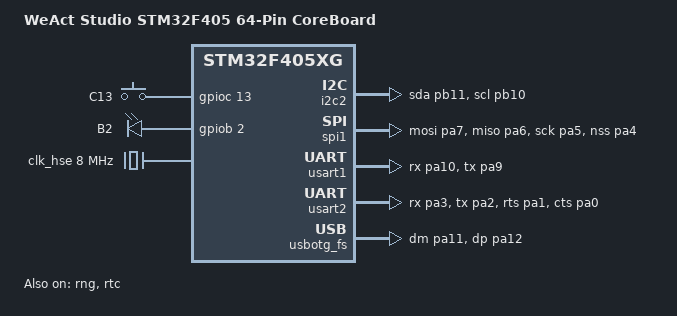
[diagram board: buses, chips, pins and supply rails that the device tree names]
/*
 * Copyright (c) 2023 Caspar Friedrich <c.s.w.friedrich@gmail.com>
 *
 * SPDX-License-Identifier: Apache-2.0
 */

/dts-v1/;

#include <st/f4/stm32f405Xg.dtsi>
#include <st/f4/stm32f405rgtx-pinctrl.dtsi>
#include <zephyr/dt-bindings/input/input-event-codes.h>

/ {
	model = "WeAct Studio STM32F405 64-Pin CoreBoard";
	compatible = "weact,coreboard-f405rg";

	chosen {
		zephyr,ccm = &ccm0;
		zephyr,code-partition = &slot0_partition;
		zephyr,console = &usart1;
		zephyr,flash = &flash0;
		zephyr,shell-uart = &usart1;
		zephyr,sram = &sram0;
		zephyr,uart-mcumgr = &usart1;
	};

	keys {
		compatible = "gpio-keys";

		key_c13: key_c13 {
			gpios = <&gpioc 13 (GPIO_ACTIVE_HIGH | GPIO_PULL_DOWN)>;
			label = "C13";
			zephyr,code = <INPUT_KEY_0>;
		};
	};

	leds {
		compatible = "gpio-leds";

		led_b2: led_b2 {
			gpios = <&gpiob 2 GPIO_ACTIVE_HIGH>;
			label = "B2";
		};
	};

	aliases {
		led0 = &led_b2;
		sw0 = &key_c13;
		mcuboot-led0 = &led_b2;
		mcuboot-button0 = &key_c13;
	};
};

&clk_lsi {
	status = "okay";
};

&clk_hse {
	clock-frequency = <DT_FREQ_M(8)>;
	status = "okay";
};

&pll {
	div-m = <4>;
	mul-n = <168>;
	div-p = <2>;
	div-q = <7>;
	clocks = <&clk_hse>;
	status = "okay";
};

&rcc {
	clocks = <&pll>;
	clock-frequency = <DT_FREQ_M(168)>;
	ahb-prescaler = <1>;
	apb1-prescaler = <4>;
	apb2-prescaler = <2>;
	status = "okay";
};

&rng {
	status = "okay";
};

&rtc {
	status = "okay";
};

&i2c2 {
	pinctrl-0 = <&i2c2_sda_pb11 &i2c2_scl_pb10>;
	pinctrl-names = "default";
	status = "okay";
};

&spi1 {
	pinctrl-0 = <&spi1_mosi_pa7 &spi1_miso_pa6 &spi1_sck_pa5 &spi1_nss_pa4>;
	pinctrl-names = "default";
	status = "okay";
};

&usart1 {
	pinctrl-0 = <&usart1_rx_pa10 &usart1_tx_pa9>;
	pinctrl-names = "default";
	status = "okay";
};

&usart2 {
	pinctrl-0 = <&usart2_rx_pa3 &usart2_tx_pa2 &usart2_rts_pa1 &usart2_cts_pa0>;
	pinctrl-names = "default";
	status = "okay";
};

&sdmmc1 {
	pinctrl-0 = <&sdio_d0_pc8 &sdio_d1_pc9 &sdio_d2_pc10
	             &sdio_d3_pc11 &sdio_ck_pc12 &sdio_cmd_pd2>;
	pinctrl-names = "default";
	status = "disabled";
};

zephyr_udc0: &usbotg_fs {
	pinctrl-0 = <&usb_otg_fs_dm_pa11 &usb_otg_fs_dp_pa12>;
	pinctrl-names = "default";
};

&flash0 {
	partitions {
		compatible = "fixed-partitions";
		#address-cells = <1>;
		#size-cells = <1>;

		boot_partition: partition@0 {
			reg = <0x00000000 DT_SIZE_K(48)>;
			label = "mcuboot";
			read-only;
		};

		slot0_partition: partition@c000 {
			reg = <0x0000c000 DT_SIZE_K(480)>;
			label = "image-0";
		};

		slot1_partition: partition@84000 {
			reg = <0x00084000 DT_SIZE_K(480)>;
			label = "image-1";
		};

		storage_partition: partition@fc0000 {
			reg = <0x00fc0000 DT_SIZE_K(16)>;
			label = "storage";
		};
	};
};
